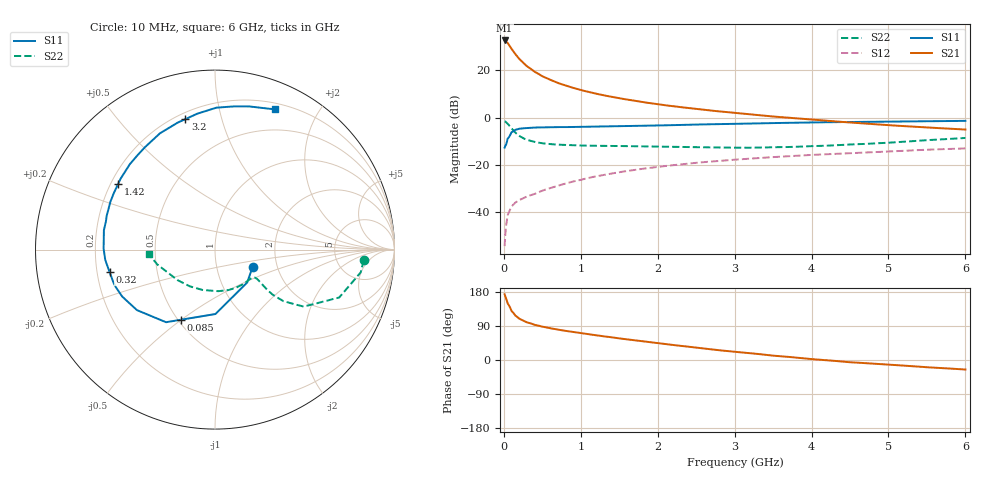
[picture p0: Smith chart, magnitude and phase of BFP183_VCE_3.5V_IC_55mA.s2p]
! Infineon Technologies  Discrete & RF Semiconductors
! BFP183
! VCE = 3.5 V,  IC =  55 mA
! Common Emitter S-Parameters:  Jan 2016
# GHz  S  MA  R  50
!  f  S11  S21  S12  S22
! GHz  MAG  ANG  MAG  ANG  MAG  ANG  MAG  ANG
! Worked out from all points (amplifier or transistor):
!   210 points, 10 MHz to 6 GHz, reference 50 ohm
!   highest |S21| = 32.6 dB at 10 MHz (marker M1)
!   |S21| within 3 dB of that: start of sweep to 88.51 MHz
!   unconditionally stable (mu >= 1): start of sweep to 20.14 MHz; 288.5 MHz to end of sweep
!   at 185 MHz: K = 0.77, MSG = 30.3 dB, |S12| = -35.2 dB
!   at 1.52 GHz: K = 1.43, MAG = 11.6 dB, |S12| = -23.0 dB
!   at 6 GHz: K = 1.10, MAG = 2.1 dB, |S12| = -13.1 dB
!   S11 on the Smith chart (normalised r, x): 10 MHz: 1.49, -0.30; 85 MHz: 0.52, -0.50; 320 MHz: 0.25, -0.10; 1.42 GHz: 0.23, +0.29; 3.2 GHz: 0.24, +0.77; 6 GHz: 0.26, +1.48
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0.01  0.2305 -24.7  42.68 173.4  0.0019 74.6  0.8306 -4.1
0.02  0.2565 -45.6  42.14 167.2  0.0035 76.4  0.8216 -8.9
0.05  0.3589 -89.6  37.78 149.5  0.0086 67.7  0.7416 -21.1
0.085  0.4347 -116.0  30.8 136.7  0.0116 57.0  0.63 -28.7
0.1  0.488 -124.0  28.45 129.4  0.013 54.0  0.5865 -32.8
0.15  0.5502 -142.2  21.88 117.1  0.0159 49.8  0.4772 -37.0
0.2  0.5795 -153.2  17.43 109.1  0.0179 49.9  0.4088 -38.0
0.26  0.5948 -161.8  13.92 102.8  0.0199 50.6  0.3603 -37.4
0.3  0.5984 -166.3  12.18 99.4  0.0213 53.0  0.3369 -36.7
0.32  0.6005 -168.0  11.6 98.3  0.0219 53.3  0.3301 -36.5
0.4  0.6141 -174.6  9.304 92.8  0.0242 54.4  0.3031 -35.5
0.5  0.6206 179.5  7.479 88.0  0.0283 56.7  0.285 -34.9
0.6  0.6224 174.4  6.314 83.9  0.0322 58.4  0.2739 -34.9
0.8  0.6268 166.1  4.759 76.9  0.0401 60.5  0.2629 -36.2
1.02  0.6361 158.2  3.744 70.2  0.049 61.5  0.2556 -39.2
1.42  0.6525 145.8  2.706 59.4  0.0662 60.3  0.2498 -46.7
2.02  0.6804 129.3  1.887 44.0  0.0911 55.5  0.2427 -60.9
3.1  0.7407 104.7  1.206 19.8  0.1317 45.1  0.2298 -93.7
3.2  0.7453 102.8  1.165 18.0  0.1351 44.1  0.23 -97.2
4.1  0.7928 87.9  0.879 0.9  0.1646 35.2  0.2507 -128.0
5.1  0.8221 75.5  0.673 -13.5  0.1944 26.8  0.3 -156.7
6  0.8496 66.8  0.557 -25.1  0.2222 17.5  0.3697 -176.1
